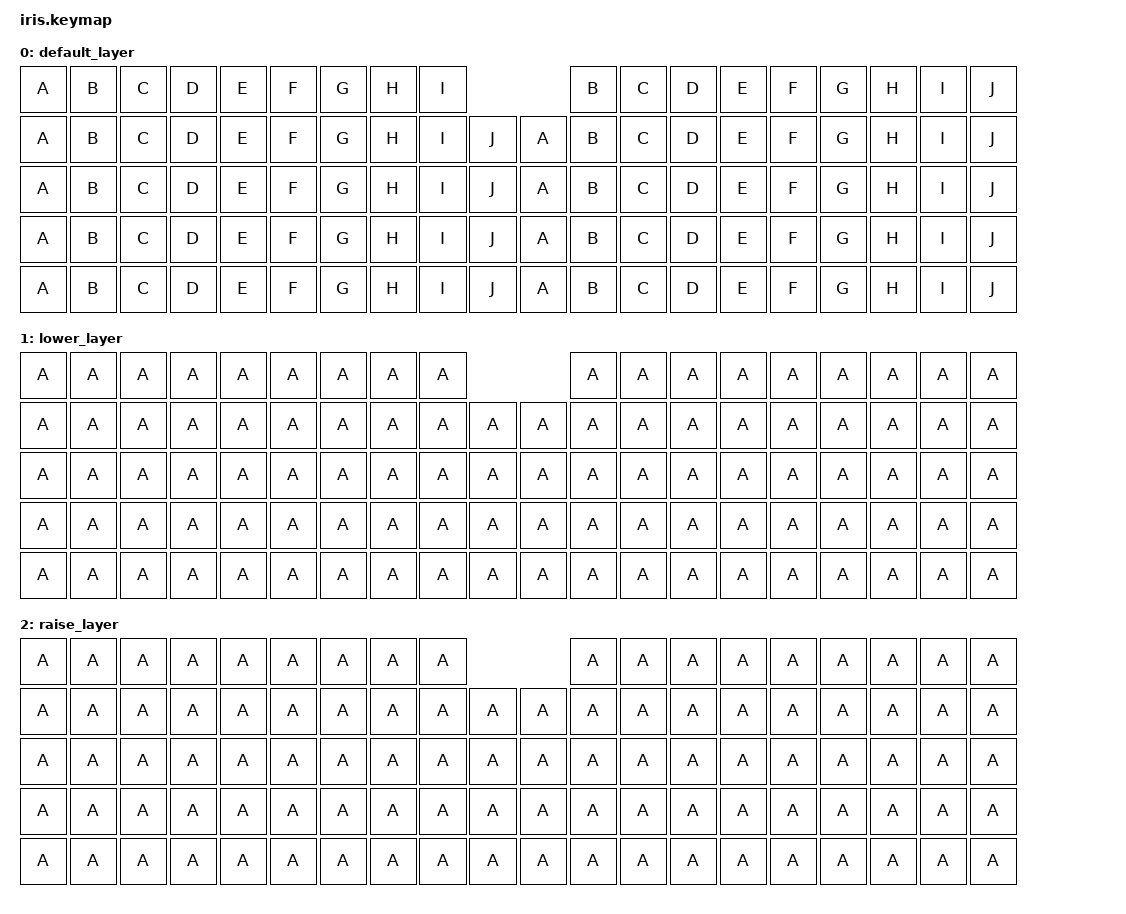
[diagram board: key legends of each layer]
/*
 * Copyright (c) 2020 The ZMK Contributors
 *
 * SPDX-License-Identifier: MIT
 */

#include <behaviors.dtsi>
#include <dt-bindings/zmk/keys.h>
#include <dt-bindings/zmk/bt.h>

/ {
	keymap {
		compatible = "zmk,keymap";

		default_layer {
			bindings = <
&kp A 	&kp B 	&kp C 	&kp D 	&kp E 	&kp F 	&kp G 	&kp H 	&kp I 					&kp B 	&kp C 	&kp D 	&kp E 	&kp F 	&kp G 	&kp H 	&kp I 	&kp J
&kp A 	&kp B 	&kp C 	&kp D 	&kp E 	&kp F 	&kp G 	&kp H 	&kp I 	&kp J 	&kp A 	&kp B 	&kp C 	&kp D 	&kp E 	&kp F 	&kp G 	&kp H 	&kp I 	&kp J
&kp A 	&kp B 	&kp C 	&kp D 	&kp E 	&kp F 	&kp G 	&kp H 	&kp I 	&kp J 	&kp A 	&kp B 	&kp C 	&kp D 	&kp E 	&kp F 	&kp G 	&kp H 	&kp I 	&kp J
&kp A 	&kp B 	&kp C 	&kp D 	&kp E 	&kp F 	&kp G 	&kp H 	&kp I 	&kp J 	&kp A 	&kp B 	&kp C 	&kp D 	&kp E 	&kp F 	&kp G 	&kp H 	&kp I 	&kp J
&kp A 	&kp B 	&kp C 	&kp D 	&kp E 	&kp F 	&kp G 	&kp H 	&kp I 	&kp J 	&kp A 	&kp B 	&kp C 	&kp D 	&kp E 	&kp F 	&kp G 	&kp H 	&kp I 	&kp J

			>;
		};

		lower_layer {
			bindings = <
&kp A	&kp A	&kp A	&kp A	&kp A	&kp A	&kp A	&kp A	&kp A					&kp A	&kp A	&kp A	&kp A	&kp A	&kp A	&kp A	&kp A	&kp A
&kp A	&kp A	&kp A	&kp A	&kp A	&kp A	&kp A	&kp A	&kp A	&kp A	&kp A	&kp A	&kp A	&kp A	&kp A	&kp A	&kp A	&kp A	&kp A	&kp A
&kp A	&kp A	&kp A	&kp A	&kp A	&kp A	&kp A	&kp A	&kp A	&kp A	&kp A	&kp A	&kp A	&kp A	&kp A	&kp A	&kp A	&kp A	&kp A	&kp A
&kp A	&kp A	&kp A	&kp A	&kp A	&kp A	&kp A	&kp A	&kp A	&kp A	&kp A	&kp A	&kp A	&kp A	&kp A	&kp A	&kp A	&kp A	&kp A	&kp A
&kp A	&kp A	&kp A	&kp A	&kp A	&kp A	&kp A	&kp A	&kp A	&kp A	&kp A	&kp A	&kp A	&kp A	&kp A	&kp A	&kp A	&kp A	&kp A	&kp A
			>;
		};

		raise_layer {
			bindings = <
&kp A	&kp A	&kp A	&kp A	&kp A	&kp A	&kp A	&kp A	&kp A					&kp A	&kp A	&kp A	&kp A	&kp A	&kp A	&kp A	&kp A	&kp A
&kp A	&kp A	&kp A	&kp A	&kp A	&kp A	&kp A	&kp A	&kp A	&kp A	&kp A	&kp A	&kp A	&kp A	&kp A	&kp A	&kp A	&kp A	&kp A	&kp A
&kp A	&kp A	&kp A	&kp A	&kp A	&kp A	&kp A	&kp A	&kp A	&kp A	&kp A	&kp A	&kp A	&kp A	&kp A	&kp A	&kp A	&kp A	&kp A	&kp A
&kp A	&kp A	&kp A	&kp A	&kp A	&kp A	&kp A	&kp A	&kp A	&kp A	&kp A	&kp A	&kp A	&kp A	&kp A	&kp A	&kp A	&kp A	&kp A	&kp A
&kp A	&kp A	&kp A	&kp A	&kp A	&kp A	&kp A	&kp A	&kp A	&kp A	&kp A	&kp A	&kp A	&kp A	&kp A	&kp A	&kp A	&kp A	&kp A	&kp A
			>;
		};
	};
};
